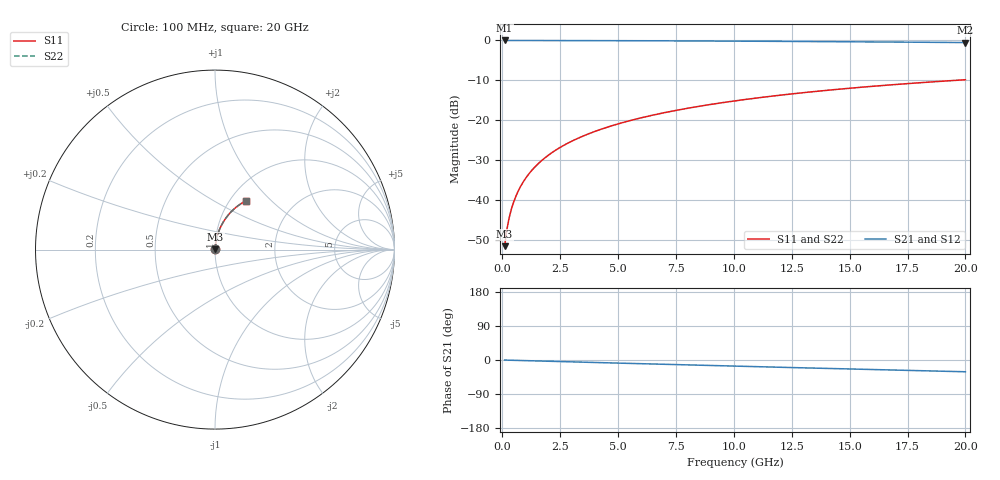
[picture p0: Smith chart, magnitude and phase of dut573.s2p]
! Touchstone file exported from HFSS 2026.1.0
!  File:  C:/ffzhzh/LocalFiles/Ansys_Project_Files/temp_train_BSMRDL_573_1783015566_55676.aedt
!  Generated:  02:07:32 AM Jul  3, 2026
!  Design:  BSMRDL
!  Project:  temp_train_BSMRDL_573_1783015566_55676
! Variables:
!  h_bsmrdl = 4.11um
!  h_ox = 20um
!  h_rdl = 5um
!  h_sub = 80um
!  h_tmrdl = 5um
!  h_tsv = 80um
!  h_via = 3um
!  l_bsmrdl = 406.72um
!  l_sub = 806.72um
!  l_tmrdl = 200um
!  m_sub = 200um
!  pitch = 55.61um
!  r_tsv = 6um
!  s_tmrdl = 10um
!  w_bsmrdl = 22.2um
!  w_sub = 500um
!  w_tmrdl = 12um
!  x_tsv_center1 = 206um
!  x_tsv_center2 = 634.92um
!  x_tsv_center3 = 846.92um
!  x_tsv_center4 = 1275.84um
!  x_tsv_center5 = 1487.84um
!  x_tsv_center6 = 1916.76um
# GHz S MA R 50.000000
! Terminal data exported
! Port[1] = BSM_RDL1_1_T1
! Port[2] = BSM_RDL1_1_T2
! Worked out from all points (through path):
!   200 points, 100 MHz to 20 GHz, reference 50 ohm
!   highest |S21| = -0.02 dB at 100 MHz (marker M1); lowest = -0.5 dB at 20 GHz (marker M2)
!   group delay of S21, straight-line fit = 4.31 ps
!   lowest |S11| = -51.6 dB at 100 MHz (marker M3), VSWR 1.01, Z = 50.2 + j0.196 ohm
!   |S11| at or under -10 dB: start of sweep to 19.63 GHz
!   |S22| runs from -51.6 to -9.9 dB; largest |S21 - S12| = 2.6e-15
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0.1  0.002629 47.8  0.9982 -0.2  0.9982 -0.2  0.002629 47.8
! Gamma 0 0 0 0
! Port Impedance 50 0 50 0
0.2  0.004276 64.1  0.9981 -0.3  0.9981 -0.3  0.004276 64.1
0.3  0.00603 70.8  0.998 -0.5  0.998 -0.5  0.00603 70.8
0.4  0.007798 74.4  0.998 -0.7  0.998 -0.7  0.007798 74.4
0.5  0.009571 76.7  0.9979 -0.8  0.9979 -0.8  0.009571 76.7
0.7  0.01313 79.4  0.9978 -1.2  0.9978 -1.2  0.01313 79.4
0.8  0.01492 80.3  0.9977 -1.3  0.9977 -1.3  0.01492 80.3
1  0.01852 81.4  0.9976 -1.7  0.9976 -1.7  0.01852 81.4
1.2  0.02212 82.1  0.9975 -2.0  0.9975 -2.0  0.02212 82.1
1.4  0.02572 82.5  0.9974 -2.3  0.9974 -2.3  0.02572 82.5
1.7  0.03114 82.8  0.9971 -2.8  0.9971 -2.8  0.03114 82.8
2  0.03654 82.8  0.9969 -3.3  0.9969 -3.3  0.03654 82.8
2.7  0.04912 82.4  0.9961 -4.5  0.9961 -4.5  0.04912 82.4
3.5  0.06338 81.5  0.9949 -5.8  0.9949 -5.8  0.06338 81.5
4.2  0.07575 80.6  0.9938 -6.9  0.9938 -6.9  0.07575 80.6
5  0.08974 79.4  0.9923 -8.2  0.9923 -8.2  0.08974 79.4
6.8  0.1207 76.8  0.9882 -11.1  0.9882 -11.1  0.1207 76.8
8.3  0.1459 74.6  0.9843 -13.4  0.9843 -13.4  0.1459 74.6
10.1  0.1753 71.9  0.9789 -16.2  0.9789 -16.2  0.1753 71.9
13.4  0.2272 67.1  0.9674 -21.3  0.9674 -21.3  0.2272 67.1
16.7  0.2759 62.3  0.9541 -26.2  0.9541 -26.2  0.2759 62.3
20  0.3211 57.6  0.9395 -31.0  0.9395 -31.0  0.3211 57.6
